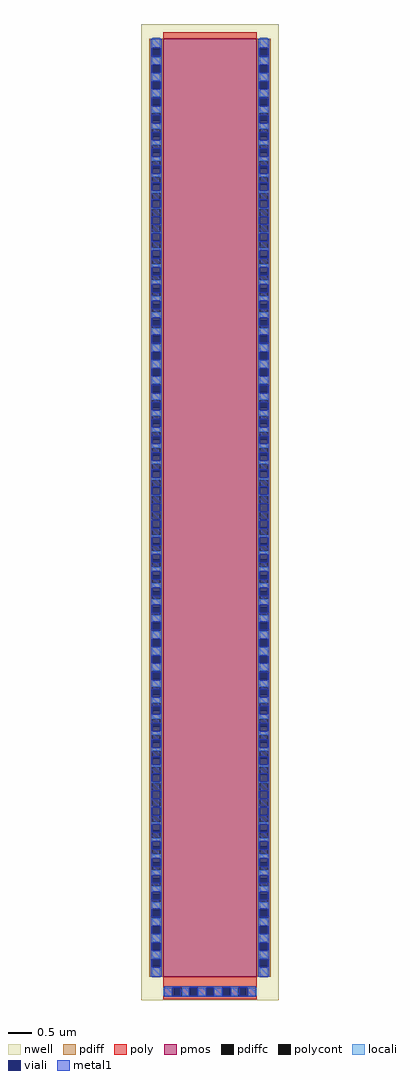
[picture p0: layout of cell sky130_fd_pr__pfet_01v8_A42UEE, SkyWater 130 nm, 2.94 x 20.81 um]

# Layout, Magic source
magic
tech sky130A
magscale 1 2
<< nwell >>
rect -294 -2064 294 2098
<< pmos >>
rect -200 -1964 200 2036
<< pdiff >>
rect -258 1991 -200 2036
rect -258 1957 -246 1991
rect -212 1957 -200 1991
rect -258 1923 -200 1957
rect -258 1889 -246 1923
rect -212 1889 -200 1923
rect -258 1855 -200 1889
rect -258 1821 -246 1855
rect -212 1821 -200 1855
rect -258 1787 -200 1821
rect -258 1753 -246 1787
rect -212 1753 -200 1787
rect -258 1719 -200 1753
rect -258 1685 -246 1719
rect -212 1685 -200 1719
rect -258 1651 -200 1685
rect -258 1617 -246 1651
rect -212 1617 -200 1651
rect -258 1583 -200 1617
rect -258 1549 -246 1583
rect -212 1549 -200 1583
rect -258 1515 -200 1549
rect -258 1481 -246 1515
rect -212 1481 -200 1515
rect -258 1447 -200 1481
rect -258 1413 -246 1447
rect -212 1413 -200 1447
rect -258 1379 -200 1413
rect -258 1345 -246 1379
rect -212 1345 -200 1379
rect -258 1311 -200 1345
rect -258 1277 -246 1311
rect -212 1277 -200 1311
rect -258 1243 -200 1277
rect -258 1209 -246 1243
rect -212 1209 -200 1243
rect -258 1175 -200 1209
rect -258 1141 -246 1175
rect -212 1141 -200 1175
rect -258 1107 -200 1141
rect -258 1073 -246 1107
rect -212 1073 -200 1107
rect -258 1039 -200 1073
rect -258 1005 -246 1039
rect -212 1005 -200 1039
rect -258 971 -200 1005
rect -258 937 -246 971
rect -212 937 -200 971
rect -258 903 -200 937
rect -258 869 -246 903
rect -212 869 -200 903
rect -258 835 -200 869
rect -258 801 -246 835
rect -212 801 -200 835
rect -258 767 -200 801
rect -258 733 -246 767
rect -212 733 -200 767
rect -258 699 -200 733
rect -258 665 -246 699
rect -212 665 -200 699
rect -258 631 -200 665
rect -258 597 -246 631
rect -212 597 -200 631
rect -258 563 -200 597
rect -258 529 -246 563
rect -212 529 -200 563
rect -258 495 -200 529
rect -258 461 -246 495
rect -212 461 -200 495
rect -258 427 -200 461
rect -258 393 -246 427
rect -212 393 -200 427
rect -258 359 -200 393
rect -258 325 -246 359
rect -212 325 -200 359
rect -258 291 -200 325
rect -258 257 -246 291
rect -212 257 -200 291
rect -258 223 -200 257
rect -258 189 -246 223
rect -212 189 -200 223
rect -258 155 -200 189
rect -258 121 -246 155
rect -212 121 -200 155
rect -258 87 -200 121
rect -258 53 -246 87
rect -212 53 -200 87
rect -258 19 -200 53
rect -258 -15 -246 19
rect -212 -15 -200 19
rect -258 -49 -200 -15
rect -258 -83 -246 -49
rect -212 -83 -200 -49
rect -258 -117 -200 -83
rect -258 -151 -246 -117
rect -212 -151 -200 -117
rect -258 -185 -200 -151
rect -258 -219 -246 -185
rect -212 -219 -200 -185
rect -258 -253 -200 -219
rect -258 -287 -246 -253
rect -212 -287 -200 -253
rect -258 -321 -200 -287
rect -258 -355 -246 -321
rect -212 -355 -200 -321
rect -258 -389 -200 -355
rect -258 -423 -246 -389
rect -212 -423 -200 -389
rect -258 -457 -200 -423
rect -258 -491 -246 -457
rect -212 -491 -200 -457
rect -258 -525 -200 -491
rect -258 -559 -246 -525
rect -212 -559 -200 -525
rect -258 -593 -200 -559
rect -258 -627 -246 -593
rect -212 -627 -200 -593
rect -258 -661 -200 -627
rect -258 -695 -246 -661
rect -212 -695 -200 -661
rect -258 -729 -200 -695
rect -258 -763 -246 -729
rect -212 -763 -200 -729
rect -258 -797 -200 -763
rect -258 -831 -246 -797
rect -212 -831 -200 -797
rect -258 -865 -200 -831
rect -258 -899 -246 -865
rect -212 -899 -200 -865
rect -258 -933 -200 -899
rect -258 -967 -246 -933
rect -212 -967 -200 -933
rect -258 -1001 -200 -967
rect -258 -1035 -246 -1001
rect -212 -1035 -200 -1001
rect -258 -1069 -200 -1035
rect -258 -1103 -246 -1069
rect -212 -1103 -200 -1069
rect -258 -1137 -200 -1103
rect -258 -1171 -246 -1137
rect -212 -1171 -200 -1137
rect -258 -1205 -200 -1171
rect -258 -1239 -246 -1205
rect -212 -1239 -200 -1205
rect -258 -1273 -200 -1239
rect -258 -1307 -246 -1273
rect -212 -1307 -200 -1273
rect -258 -1341 -200 -1307
rect -258 -1375 -246 -1341
rect -212 -1375 -200 -1341
rect -258 -1409 -200 -1375
rect -258 -1443 -246 -1409
rect -212 -1443 -200 -1409
rect -258 -1477 -200 -1443
rect -258 -1511 -246 -1477
rect -212 -1511 -200 -1477
rect -258 -1545 -200 -1511
rect -258 -1579 -246 -1545
rect -212 -1579 -200 -1545
rect -258 -1613 -200 -1579
rect -258 -1647 -246 -1613
rect -212 -1647 -200 -1613
rect -258 -1681 -200 -1647
rect -258 -1715 -246 -1681
rect -212 -1715 -200 -1681
rect -258 -1749 -200 -1715
rect -258 -1783 -246 -1749
rect -212 -1783 -200 -1749
rect -258 -1817 -200 -1783
rect -258 -1851 -246 -1817
rect -212 -1851 -200 -1817
rect -258 -1885 -200 -1851
rect -258 -1919 -246 -1885
rect -212 -1919 -200 -1885
rect -258 -1964 -200 -1919
rect 200 1991 258 2036
rect 200 1957 212 1991
rect 246 1957 258 1991
rect 200 1923 258 1957
rect 200 1889 212 1923
rect 246 1889 258 1923
rect 200 1855 258 1889
rect 200 1821 212 1855
rect 246 1821 258 1855
rect 200 1787 258 1821
rect 200 1753 212 1787
rect 246 1753 258 1787
rect 200 1719 258 1753
rect 200 1685 212 1719
rect 246 1685 258 1719
rect 200 1651 258 1685
rect 200 1617 212 1651
rect 246 1617 258 1651
rect 200 1583 258 1617
rect 200 1549 212 1583
rect 246 1549 258 1583
rect 200 1515 258 1549
rect 200 1481 212 1515
rect 246 1481 258 1515
rect 200 1447 258 1481
rect 200 1413 212 1447
rect 246 1413 258 1447
rect 200 1379 258 1413
rect 200 1345 212 1379
rect 246 1345 258 1379
rect 200 1311 258 1345
rect 200 1277 212 1311
rect 246 1277 258 1311
rect 200 1243 258 1277
rect 200 1209 212 1243
rect 246 1209 258 1243
rect 200 1175 258 1209
rect 200 1141 212 1175
rect 246 1141 258 1175
rect 200 1107 258 1141
rect 200 1073 212 1107
rect 246 1073 258 1107
rect 200 1039 258 1073
rect 200 1005 212 1039
rect 246 1005 258 1039
rect 200 971 258 1005
rect 200 937 212 971
rect 246 937 258 971
rect 200 903 258 937
rect 200 869 212 903
rect 246 869 258 903
rect 200 835 258 869
rect 200 801 212 835
rect 246 801 258 835
rect 200 767 258 801
rect 200 733 212 767
rect 246 733 258 767
rect 200 699 258 733
rect 200 665 212 699
rect 246 665 258 699
rect 200 631 258 665
rect 200 597 212 631
rect 246 597 258 631
rect 200 563 258 597
rect 200 529 212 563
rect 246 529 258 563
rect 200 495 258 529
rect 200 461 212 495
rect 246 461 258 495
rect 200 427 258 461
rect 200 393 212 427
rect 246 393 258 427
rect 200 359 258 393
rect 200 325 212 359
rect 246 325 258 359
rect 200 291 258 325
rect 200 257 212 291
rect 246 257 258 291
rect 200 223 258 257
rect 200 189 212 223
rect 246 189 258 223
rect 200 155 258 189
rect 200 121 212 155
rect 246 121 258 155
rect 200 87 258 121
rect 200 53 212 87
rect 246 53 258 87
rect 200 19 258 53
rect 200 -15 212 19
rect 246 -15 258 19
rect 200 -49 258 -15
rect 200 -83 212 -49
rect 246 -83 258 -49
rect 200 -117 258 -83
rect 200 -151 212 -117
rect 246 -151 258 -117
rect 200 -185 258 -151
rect 200 -219 212 -185
rect 246 -219 258 -185
rect 200 -253 258 -219
rect 200 -287 212 -253
rect 246 -287 258 -253
rect 200 -321 258 -287
rect 200 -355 212 -321
rect 246 -355 258 -321
rect 200 -389 258 -355
rect 200 -423 212 -389
rect 246 -423 258 -389
rect 200 -457 258 -423
rect 200 -491 212 -457
rect 246 -491 258 -457
rect 200 -525 258 -491
rect 200 -559 212 -525
rect 246 -559 258 -525
rect 200 -593 258 -559
rect 200 -627 212 -593
rect 246 -627 258 -593
rect 200 -661 258 -627
rect 200 -695 212 -661
rect 246 -695 258 -661
rect 200 -729 258 -695
rect 200 -763 212 -729
rect 246 -763 258 -729
rect 200 -797 258 -763
rect 200 -831 212 -797
rect 246 -831 258 -797
rect 200 -865 258 -831
rect 200 -899 212 -865
rect 246 -899 258 -865
rect 200 -933 258 -899
rect 200 -967 212 -933
rect 246 -967 258 -933
rect 200 -1001 258 -967
rect 200 -1035 212 -1001
rect 246 -1035 258 -1001
rect 200 -1069 258 -1035
rect 200 -1103 212 -1069
rect 246 -1103 258 -1069
rect 200 -1137 258 -1103
rect 200 -1171 212 -1137
rect 246 -1171 258 -1137
rect 200 -1205 258 -1171
rect 200 -1239 212 -1205
rect 246 -1239 258 -1205
rect 200 -1273 258 -1239
rect 200 -1307 212 -1273
rect 246 -1307 258 -1273
rect 200 -1341 258 -1307
rect 200 -1375 212 -1341
rect 246 -1375 258 -1341
rect 200 -1409 258 -1375
rect 200 -1443 212 -1409
rect 246 -1443 258 -1409
rect 200 -1477 258 -1443
rect 200 -1511 212 -1477
rect 246 -1511 258 -1477
rect 200 -1545 258 -1511
rect 200 -1579 212 -1545
rect 246 -1579 258 -1545
rect 200 -1613 258 -1579
rect 200 -1647 212 -1613
rect 246 -1647 258 -1613
rect 200 -1681 258 -1647
rect 200 -1715 212 -1681
rect 246 -1715 258 -1681
rect 200 -1749 258 -1715
rect 200 -1783 212 -1749
rect 246 -1783 258 -1749
rect 200 -1817 258 -1783
rect 200 -1851 212 -1817
rect 246 -1851 258 -1817
rect 200 -1885 258 -1851
rect 200 -1919 212 -1885
rect 246 -1919 258 -1885
rect 200 -1964 258 -1919
<< pdiffc >>
rect -246 1957 -212 1991
rect -246 1889 -212 1923
rect -246 1821 -212 1855
rect -246 1753 -212 1787
rect -246 1685 -212 1719
rect -246 1617 -212 1651
rect -246 1549 -212 1583
rect -246 1481 -212 1515
rect -246 1413 -212 1447
rect -246 1345 -212 1379
rect -246 1277 -212 1311
rect -246 1209 -212 1243
rect -246 1141 -212 1175
rect -246 1073 -212 1107
rect -246 1005 -212 1039
rect -246 937 -212 971
rect -246 869 -212 903
rect -246 801 -212 835
rect -246 733 -212 767
rect -246 665 -212 699
rect -246 597 -212 631
rect -246 529 -212 563
rect -246 461 -212 495
rect -246 393 -212 427
rect -246 325 -212 359
rect -246 257 -212 291
rect -246 189 -212 223
rect -246 121 -212 155
rect -246 53 -212 87
rect -246 -15 -212 19
rect -246 -83 -212 -49
rect -246 -151 -212 -117
rect -246 -219 -212 -185
rect -246 -287 -212 -253
rect -246 -355 -212 -321
rect -246 -423 -212 -389
rect -246 -491 -212 -457
rect -246 -559 -212 -525
rect -246 -627 -212 -593
rect -246 -695 -212 -661
rect -246 -763 -212 -729
rect -246 -831 -212 -797
rect -246 -899 -212 -865
rect -246 -967 -212 -933
rect -246 -1035 -212 -1001
rect -246 -1103 -212 -1069
rect -246 -1171 -212 -1137
rect -246 -1239 -212 -1205
rect -246 -1307 -212 -1273
rect -246 -1375 -212 -1341
rect -246 -1443 -212 -1409
rect -246 -1511 -212 -1477
rect -246 -1579 -212 -1545
rect -246 -1647 -212 -1613
rect -246 -1715 -212 -1681
rect -246 -1783 -212 -1749
rect -246 -1851 -212 -1817
rect -246 -1919 -212 -1885
rect 212 1957 246 1991
rect 212 1889 246 1923
rect 212 1821 246 1855
rect 212 1753 246 1787
rect 212 1685 246 1719
rect 212 1617 246 1651
rect 212 1549 246 1583
rect 212 1481 246 1515
rect 212 1413 246 1447
rect 212 1345 246 1379
rect 212 1277 246 1311
rect 212 1209 246 1243
rect 212 1141 246 1175
rect 212 1073 246 1107
rect 212 1005 246 1039
rect 212 937 246 971
rect 212 869 246 903
rect 212 801 246 835
rect 212 733 246 767
rect 212 665 246 699
rect 212 597 246 631
rect 212 529 246 563
rect 212 461 246 495
rect 212 393 246 427
rect 212 325 246 359
rect 212 257 246 291
rect 212 189 246 223
rect 212 121 246 155
rect 212 53 246 87
rect 212 -15 246 19
rect 212 -83 246 -49
rect 212 -151 246 -117
rect 212 -219 246 -185
rect 212 -287 246 -253
rect 212 -355 246 -321
rect 212 -423 246 -389
rect 212 -491 246 -457
rect 212 -559 246 -525
rect 212 -627 246 -593
rect 212 -695 246 -661
rect 212 -763 246 -729
rect 212 -831 246 -797
rect 212 -899 246 -865
rect 212 -967 246 -933
rect 212 -1035 246 -1001
rect 212 -1103 246 -1069
rect 212 -1171 246 -1137
rect 212 -1239 246 -1205
rect 212 -1307 246 -1273
rect 212 -1375 246 -1341
rect 212 -1443 246 -1409
rect 212 -1511 246 -1477
rect 212 -1579 246 -1545
rect 212 -1647 246 -1613
rect 212 -1715 246 -1681
rect 212 -1783 246 -1749
rect 212 -1851 246 -1817
rect 212 -1919 246 -1885
<< poly >>
rect -200 2036 200 2062
rect -200 -2011 200 -1964
rect -200 -2045 -153 -2011
rect -119 -2045 -85 -2011
rect -51 -2045 -17 -2011
rect 17 -2045 51 -2011
rect 85 -2045 119 -2011
rect 153 -2045 200 -2011
rect -200 -2061 200 -2045
<< polycont >>
rect -153 -2045 -119 -2011
rect -85 -2045 -51 -2011
rect -17 -2045 17 -2011
rect 51 -2045 85 -2011
rect 119 -2045 153 -2011
<< locali >>
rect -246 1997 -212 2040
rect -246 1925 -212 1957
rect -246 1855 -212 1889
rect -246 1787 -212 1819
rect -246 1719 -212 1747
rect -246 1651 -212 1675
rect -246 1583 -212 1603
rect -246 1515 -212 1531
rect -246 1447 -212 1459
rect -246 1379 -212 1387
rect -246 1311 -212 1315
rect -246 1205 -212 1209
rect -246 1133 -212 1141
rect -246 1061 -212 1073
rect -246 989 -212 1005
rect -246 917 -212 937
rect -246 845 -212 869
rect -246 773 -212 801
rect -246 701 -212 733
rect -246 631 -212 665
rect -246 563 -212 595
rect -246 495 -212 523
rect -246 427 -212 451
rect -246 359 -212 379
rect -246 291 -212 307
rect -246 223 -212 235
rect -246 155 -212 163
rect -246 87 -212 91
rect -246 -19 -212 -15
rect -246 -91 -212 -83
rect -246 -163 -212 -151
rect -246 -235 -212 -219
rect -246 -307 -212 -287
rect -246 -379 -212 -355
rect -246 -451 -212 -423
rect -246 -523 -212 -491
rect -246 -593 -212 -559
rect -246 -661 -212 -629
rect -246 -729 -212 -701
rect -246 -797 -212 -773
rect -246 -865 -212 -845
rect -246 -933 -212 -917
rect -246 -1001 -212 -989
rect -246 -1069 -212 -1061
rect -246 -1137 -212 -1133
rect -246 -1243 -212 -1239
rect -246 -1315 -212 -1307
rect -246 -1387 -212 -1375
rect -246 -1459 -212 -1443
rect -246 -1531 -212 -1511
rect -246 -1603 -212 -1579
rect -246 -1675 -212 -1647
rect -246 -1747 -212 -1715
rect -246 -1817 -212 -1783
rect -246 -1885 -212 -1853
rect -246 -1968 -212 -1925
rect 212 1997 246 2040
rect 212 1925 246 1957
rect 212 1855 246 1889
rect 212 1787 246 1819
rect 212 1719 246 1747
rect 212 1651 246 1675
rect 212 1583 246 1603
rect 212 1515 246 1531
rect 212 1447 246 1459
rect 212 1379 246 1387
rect 212 1311 246 1315
rect 212 1205 246 1209
rect 212 1133 246 1141
rect 212 1061 246 1073
rect 212 989 246 1005
rect 212 917 246 937
rect 212 845 246 869
rect 212 773 246 801
rect 212 701 246 733
rect 212 631 246 665
rect 212 563 246 595
rect 212 495 246 523
rect 212 427 246 451
rect 212 359 246 379
rect 212 291 246 307
rect 212 223 246 235
rect 212 155 246 163
rect 212 87 246 91
rect 212 -19 246 -15
rect 212 -91 246 -83
rect 212 -163 246 -151
rect 212 -235 246 -219
rect 212 -307 246 -287
rect 212 -379 246 -355
rect 212 -451 246 -423
rect 212 -523 246 -491
rect 212 -593 246 -559
rect 212 -661 246 -629
rect 212 -729 246 -701
rect 212 -797 246 -773
rect 212 -865 246 -845
rect 212 -933 246 -917
rect 212 -1001 246 -989
rect 212 -1069 246 -1061
rect 212 -1137 246 -1133
rect 212 -1243 246 -1239
rect 212 -1315 246 -1307
rect 212 -1387 246 -1375
rect 212 -1459 246 -1443
rect 212 -1531 246 -1511
rect 212 -1603 246 -1579
rect 212 -1675 246 -1647
rect 212 -1747 246 -1715
rect 212 -1817 246 -1783
rect 212 -1885 246 -1853
rect 212 -1968 246 -1925
rect -200 -2045 -161 -2011
rect -119 -2045 -89 -2011
rect -51 -2045 -17 -2011
rect 17 -2045 51 -2011
rect 89 -2045 119 -2011
rect 161 -2045 200 -2011
<< viali >>
rect -246 1991 -212 1997
rect -246 1963 -212 1991
rect -246 1923 -212 1925
rect -246 1891 -212 1923
rect -246 1821 -212 1853
rect -246 1819 -212 1821
rect -246 1753 -212 1781
rect -246 1747 -212 1753
rect -246 1685 -212 1709
rect -246 1675 -212 1685
rect -246 1617 -212 1637
rect -246 1603 -212 1617
rect -246 1549 -212 1565
rect -246 1531 -212 1549
rect -246 1481 -212 1493
rect -246 1459 -212 1481
rect -246 1413 -212 1421
rect -246 1387 -212 1413
rect -246 1345 -212 1349
rect -246 1315 -212 1345
rect -246 1243 -212 1277
rect -246 1175 -212 1205
rect -246 1171 -212 1175
rect -246 1107 -212 1133
rect -246 1099 -212 1107
rect -246 1039 -212 1061
rect -246 1027 -212 1039
rect -246 971 -212 989
rect -246 955 -212 971
rect -246 903 -212 917
rect -246 883 -212 903
rect -246 835 -212 845
rect -246 811 -212 835
rect -246 767 -212 773
rect -246 739 -212 767
rect -246 699 -212 701
rect -246 667 -212 699
rect -246 597 -212 629
rect -246 595 -212 597
rect -246 529 -212 557
rect -246 523 -212 529
rect -246 461 -212 485
rect -246 451 -212 461
rect -246 393 -212 413
rect -246 379 -212 393
rect -246 325 -212 341
rect -246 307 -212 325
rect -246 257 -212 269
rect -246 235 -212 257
rect -246 189 -212 197
rect -246 163 -212 189
rect -246 121 -212 125
rect -246 91 -212 121
rect -246 19 -212 53
rect -246 -49 -212 -19
rect -246 -53 -212 -49
rect -246 -117 -212 -91
rect -246 -125 -212 -117
rect -246 -185 -212 -163
rect -246 -197 -212 -185
rect -246 -253 -212 -235
rect -246 -269 -212 -253
rect -246 -321 -212 -307
rect -246 -341 -212 -321
rect -246 -389 -212 -379
rect -246 -413 -212 -389
rect -246 -457 -212 -451
rect -246 -485 -212 -457
rect -246 -525 -212 -523
rect -246 -557 -212 -525
rect -246 -627 -212 -595
rect -246 -629 -212 -627
rect -246 -695 -212 -667
rect -246 -701 -212 -695
rect -246 -763 -212 -739
rect -246 -773 -212 -763
rect -246 -831 -212 -811
rect -246 -845 -212 -831
rect -246 -899 -212 -883
rect -246 -917 -212 -899
rect -246 -967 -212 -955
rect -246 -989 -212 -967
rect -246 -1035 -212 -1027
rect -246 -1061 -212 -1035
rect -246 -1103 -212 -1099
rect -246 -1133 -212 -1103
rect -246 -1205 -212 -1171
rect -246 -1273 -212 -1243
rect -246 -1277 -212 -1273
rect -246 -1341 -212 -1315
rect -246 -1349 -212 -1341
rect -246 -1409 -212 -1387
rect -246 -1421 -212 -1409
rect -246 -1477 -212 -1459
rect -246 -1493 -212 -1477
rect -246 -1545 -212 -1531
rect -246 -1565 -212 -1545
rect -246 -1613 -212 -1603
rect -246 -1637 -212 -1613
rect -246 -1681 -212 -1675
rect -246 -1709 -212 -1681
rect -246 -1749 -212 -1747
rect -246 -1781 -212 -1749
rect -246 -1851 -212 -1819
rect -246 -1853 -212 -1851
rect -246 -1919 -212 -1891
rect -246 -1925 -212 -1919
rect 212 1991 246 1997
rect 212 1963 246 1991
rect 212 1923 246 1925
rect 212 1891 246 1923
rect 212 1821 246 1853
rect 212 1819 246 1821
rect 212 1753 246 1781
rect 212 1747 246 1753
rect 212 1685 246 1709
rect 212 1675 246 1685
rect 212 1617 246 1637
rect 212 1603 246 1617
rect 212 1549 246 1565
rect 212 1531 246 1549
rect 212 1481 246 1493
rect 212 1459 246 1481
rect 212 1413 246 1421
rect 212 1387 246 1413
rect 212 1345 246 1349
rect 212 1315 246 1345
rect 212 1243 246 1277
rect 212 1175 246 1205
rect 212 1171 246 1175
rect 212 1107 246 1133
rect 212 1099 246 1107
rect 212 1039 246 1061
rect 212 1027 246 1039
rect 212 971 246 989
rect 212 955 246 971
rect 212 903 246 917
rect 212 883 246 903
rect 212 835 246 845
rect 212 811 246 835
rect 212 767 246 773
rect 212 739 246 767
rect 212 699 246 701
rect 212 667 246 699
rect 212 597 246 629
rect 212 595 246 597
rect 212 529 246 557
rect 212 523 246 529
rect 212 461 246 485
rect 212 451 246 461
rect 212 393 246 413
rect 212 379 246 393
rect 212 325 246 341
rect 212 307 246 325
rect 212 257 246 269
rect 212 235 246 257
rect 212 189 246 197
rect 212 163 246 189
rect 212 121 246 125
rect 212 91 246 121
rect 212 19 246 53
rect 212 -49 246 -19
rect 212 -53 246 -49
rect 212 -117 246 -91
rect 212 -125 246 -117
rect 212 -185 246 -163
rect 212 -197 246 -185
rect 212 -253 246 -235
rect 212 -269 246 -253
rect 212 -321 246 -307
rect 212 -341 246 -321
rect 212 -389 246 -379
rect 212 -413 246 -389
rect 212 -457 246 -451
rect 212 -485 246 -457
rect 212 -525 246 -523
rect 212 -557 246 -525
rect 212 -627 246 -595
rect 212 -629 246 -627
rect 212 -695 246 -667
rect 212 -701 246 -695
rect 212 -763 246 -739
rect 212 -773 246 -763
rect 212 -831 246 -811
rect 212 -845 246 -831
rect 212 -899 246 -883
rect 212 -917 246 -899
rect 212 -967 246 -955
rect 212 -989 246 -967
rect 212 -1035 246 -1027
rect 212 -1061 246 -1035
rect 212 -1103 246 -1099
rect 212 -1133 246 -1103
rect 212 -1205 246 -1171
rect 212 -1273 246 -1243
rect 212 -1277 246 -1273
rect 212 -1341 246 -1315
rect 212 -1349 246 -1341
rect 212 -1409 246 -1387
rect 212 -1421 246 -1409
rect 212 -1477 246 -1459
rect 212 -1493 246 -1477
rect 212 -1545 246 -1531
rect 212 -1565 246 -1545
rect 212 -1613 246 -1603
rect 212 -1637 246 -1613
rect 212 -1681 246 -1675
rect 212 -1709 246 -1681
rect 212 -1749 246 -1747
rect 212 -1781 246 -1749
rect 212 -1851 246 -1819
rect 212 -1853 246 -1851
rect 212 -1919 246 -1891
rect 212 -1925 246 -1919
rect -161 -2045 -153 -2011
rect -153 -2045 -127 -2011
rect -89 -2045 -85 -2011
rect -85 -2045 -55 -2011
rect -17 -2045 17 -2011
rect 55 -2045 85 -2011
rect 85 -2045 89 -2011
rect 127 -2045 153 -2011
rect 153 -2045 161 -2011
<< metal1 >>
rect -252 1997 -206 2036
rect -252 1963 -246 1997
rect -212 1963 -206 1997
rect -252 1925 -206 1963
rect -252 1891 -246 1925
rect -212 1891 -206 1925
rect -252 1853 -206 1891
rect -252 1819 -246 1853
rect -212 1819 -206 1853
rect -252 1781 -206 1819
rect -252 1747 -246 1781
rect -212 1747 -206 1781
rect -252 1709 -206 1747
rect -252 1675 -246 1709
rect -212 1675 -206 1709
rect -252 1637 -206 1675
rect -252 1603 -246 1637
rect -212 1603 -206 1637
rect -252 1565 -206 1603
rect -252 1531 -246 1565
rect -212 1531 -206 1565
rect -252 1493 -206 1531
rect -252 1459 -246 1493
rect -212 1459 -206 1493
rect -252 1421 -206 1459
rect -252 1387 -246 1421
rect -212 1387 -206 1421
rect -252 1349 -206 1387
rect -252 1315 -246 1349
rect -212 1315 -206 1349
rect -252 1277 -206 1315
rect -252 1243 -246 1277
rect -212 1243 -206 1277
rect -252 1205 -206 1243
rect -252 1171 -246 1205
rect -212 1171 -206 1205
rect -252 1133 -206 1171
rect -252 1099 -246 1133
rect -212 1099 -206 1133
rect -252 1061 -206 1099
rect -252 1027 -246 1061
rect -212 1027 -206 1061
rect -252 989 -206 1027
rect -252 955 -246 989
rect -212 955 -206 989
rect -252 917 -206 955
rect -252 883 -246 917
rect -212 883 -206 917
rect -252 845 -206 883
rect -252 811 -246 845
rect -212 811 -206 845
rect -252 773 -206 811
rect -252 739 -246 773
rect -212 739 -206 773
rect -252 701 -206 739
rect -252 667 -246 701
rect -212 667 -206 701
rect -252 629 -206 667
rect -252 595 -246 629
rect -212 595 -206 629
rect -252 557 -206 595
rect -252 523 -246 557
rect -212 523 -206 557
rect -252 485 -206 523
rect -252 451 -246 485
rect -212 451 -206 485
rect -252 413 -206 451
rect -252 379 -246 413
rect -212 379 -206 413
rect -252 341 -206 379
rect -252 307 -246 341
rect -212 307 -206 341
rect -252 269 -206 307
rect -252 235 -246 269
rect -212 235 -206 269
rect -252 197 -206 235
rect -252 163 -246 197
rect -212 163 -206 197
rect -252 125 -206 163
rect -252 91 -246 125
rect -212 91 -206 125
rect -252 53 -206 91
rect -252 19 -246 53
rect -212 19 -206 53
rect -252 -19 -206 19
rect -252 -53 -246 -19
rect -212 -53 -206 -19
rect -252 -91 -206 -53
rect -252 -125 -246 -91
rect -212 -125 -206 -91
rect -252 -163 -206 -125
rect -252 -197 -246 -163
rect -212 -197 -206 -163
rect -252 -235 -206 -197
rect -252 -269 -246 -235
rect -212 -269 -206 -235
rect -252 -307 -206 -269
rect -252 -341 -246 -307
rect -212 -341 -206 -307
rect -252 -379 -206 -341
rect -252 -413 -246 -379
rect -212 -413 -206 -379
rect -252 -451 -206 -413
rect -252 -485 -246 -451
rect -212 -485 -206 -451
rect -252 -523 -206 -485
rect -252 -557 -246 -523
rect -212 -557 -206 -523
rect -252 -595 -206 -557
rect -252 -629 -246 -595
rect -212 -629 -206 -595
rect -252 -667 -206 -629
rect -252 -701 -246 -667
rect -212 -701 -206 -667
rect -252 -739 -206 -701
rect -252 -773 -246 -739
rect -212 -773 -206 -739
rect -252 -811 -206 -773
rect -252 -845 -246 -811
rect -212 -845 -206 -811
rect -252 -883 -206 -845
rect -252 -917 -246 -883
rect -212 -917 -206 -883
rect -252 -955 -206 -917
rect -252 -989 -246 -955
rect -212 -989 -206 -955
rect -252 -1027 -206 -989
rect -252 -1061 -246 -1027
rect -212 -1061 -206 -1027
rect -252 -1099 -206 -1061
rect -252 -1133 -246 -1099
rect -212 -1133 -206 -1099
rect -252 -1171 -206 -1133
rect -252 -1205 -246 -1171
rect -212 -1205 -206 -1171
rect -252 -1243 -206 -1205
rect -252 -1277 -246 -1243
rect -212 -1277 -206 -1243
rect -252 -1315 -206 -1277
rect -252 -1349 -246 -1315
rect -212 -1349 -206 -1315
rect -252 -1387 -206 -1349
rect -252 -1421 -246 -1387
rect -212 -1421 -206 -1387
rect -252 -1459 -206 -1421
rect -252 -1493 -246 -1459
rect -212 -1493 -206 -1459
rect -252 -1531 -206 -1493
rect -252 -1565 -246 -1531
rect -212 -1565 -206 -1531
rect -252 -1603 -206 -1565
rect -252 -1637 -246 -1603
rect -212 -1637 -206 -1603
rect -252 -1675 -206 -1637
rect -252 -1709 -246 -1675
rect -212 -1709 -206 -1675
rect -252 -1747 -206 -1709
rect -252 -1781 -246 -1747
rect -212 -1781 -206 -1747
rect -252 -1819 -206 -1781
rect -252 -1853 -246 -1819
rect -212 -1853 -206 -1819
rect -252 -1891 -206 -1853
rect -252 -1925 -246 -1891
rect -212 -1925 -206 -1891
rect -252 -1964 -206 -1925
rect 206 1997 252 2036
rect 206 1963 212 1997
rect 246 1963 252 1997
rect 206 1925 252 1963
rect 206 1891 212 1925
rect 246 1891 252 1925
rect 206 1853 252 1891
rect 206 1819 212 1853
rect 246 1819 252 1853
rect 206 1781 252 1819
rect 206 1747 212 1781
rect 246 1747 252 1781
rect 206 1709 252 1747
rect 206 1675 212 1709
rect 246 1675 252 1709
rect 206 1637 252 1675
rect 206 1603 212 1637
rect 246 1603 252 1637
rect 206 1565 252 1603
rect 206 1531 212 1565
rect 246 1531 252 1565
rect 206 1493 252 1531
rect 206 1459 212 1493
rect 246 1459 252 1493
rect 206 1421 252 1459
rect 206 1387 212 1421
rect 246 1387 252 1421
rect 206 1349 252 1387
rect 206 1315 212 1349
rect 246 1315 252 1349
rect 206 1277 252 1315
rect 206 1243 212 1277
rect 246 1243 252 1277
rect 206 1205 252 1243
rect 206 1171 212 1205
rect 246 1171 252 1205
rect 206 1133 252 1171
rect 206 1099 212 1133
rect 246 1099 252 1133
rect 206 1061 252 1099
rect 206 1027 212 1061
rect 246 1027 252 1061
rect 206 989 252 1027
rect 206 955 212 989
rect 246 955 252 989
rect 206 917 252 955
rect 206 883 212 917
rect 246 883 252 917
rect 206 845 252 883
rect 206 811 212 845
rect 246 811 252 845
rect 206 773 252 811
rect 206 739 212 773
rect 246 739 252 773
rect 206 701 252 739
rect 206 667 212 701
rect 246 667 252 701
rect 206 629 252 667
rect 206 595 212 629
rect 246 595 252 629
rect 206 557 252 595
rect 206 523 212 557
rect 246 523 252 557
rect 206 485 252 523
rect 206 451 212 485
rect 246 451 252 485
rect 206 413 252 451
rect 206 379 212 413
rect 246 379 252 413
rect 206 341 252 379
rect 206 307 212 341
rect 246 307 252 341
rect 206 269 252 307
rect 206 235 212 269
rect 246 235 252 269
rect 206 197 252 235
rect 206 163 212 197
rect 246 163 252 197
rect 206 125 252 163
rect 206 91 212 125
rect 246 91 252 125
rect 206 53 252 91
rect 206 19 212 53
rect 246 19 252 53
rect 206 -19 252 19
rect 206 -53 212 -19
rect 246 -53 252 -19
rect 206 -91 252 -53
rect 206 -125 212 -91
rect 246 -125 252 -91
rect 206 -163 252 -125
rect 206 -197 212 -163
rect 246 -197 252 -163
rect 206 -235 252 -197
rect 206 -269 212 -235
rect 246 -269 252 -235
rect 206 -307 252 -269
rect 206 -341 212 -307
rect 246 -341 252 -307
rect 206 -379 252 -341
rect 206 -413 212 -379
rect 246 -413 252 -379
rect 206 -451 252 -413
rect 206 -485 212 -451
rect 246 -485 252 -451
rect 206 -523 252 -485
rect 206 -557 212 -523
rect 246 -557 252 -523
rect 206 -595 252 -557
rect 206 -629 212 -595
rect 246 -629 252 -595
rect 206 -667 252 -629
rect 206 -701 212 -667
rect 246 -701 252 -667
rect 206 -739 252 -701
rect 206 -773 212 -739
rect 246 -773 252 -739
rect 206 -811 252 -773
rect 206 -845 212 -811
rect 246 -845 252 -811
rect 206 -883 252 -845
rect 206 -917 212 -883
rect 246 -917 252 -883
rect 206 -955 252 -917
rect 206 -989 212 -955
rect 246 -989 252 -955
rect 206 -1027 252 -989
rect 206 -1061 212 -1027
rect 246 -1061 252 -1027
rect 206 -1099 252 -1061
rect 206 -1133 212 -1099
rect 246 -1133 252 -1099
rect 206 -1171 252 -1133
rect 206 -1205 212 -1171
rect 246 -1205 252 -1171
rect 206 -1243 252 -1205
rect 206 -1277 212 -1243
rect 246 -1277 252 -1243
rect 206 -1315 252 -1277
rect 206 -1349 212 -1315
rect 246 -1349 252 -1315
rect 206 -1387 252 -1349
rect 206 -1421 212 -1387
rect 246 -1421 252 -1387
rect 206 -1459 252 -1421
rect 206 -1493 212 -1459
rect 246 -1493 252 -1459
rect 206 -1531 252 -1493
rect 206 -1565 212 -1531
rect 246 -1565 252 -1531
rect 206 -1603 252 -1565
rect 206 -1637 212 -1603
rect 246 -1637 252 -1603
rect 206 -1675 252 -1637
rect 206 -1709 212 -1675
rect 246 -1709 252 -1675
rect 206 -1747 252 -1709
rect 206 -1781 212 -1747
rect 246 -1781 252 -1747
rect 206 -1819 252 -1781
rect 206 -1853 212 -1819
rect 246 -1853 252 -1819
rect 206 -1891 252 -1853
rect 206 -1925 212 -1891
rect 246 -1925 252 -1891
rect 206 -1964 252 -1925
rect -196 -2011 196 -2005
rect -196 -2045 -161 -2011
rect -127 -2045 -89 -2011
rect -55 -2045 -17 -2011
rect 17 -2045 55 -2011
rect 89 -2045 127 -2011
rect 161 -2045 196 -2011
rect -196 -2051 196 -2045
<< end >>
